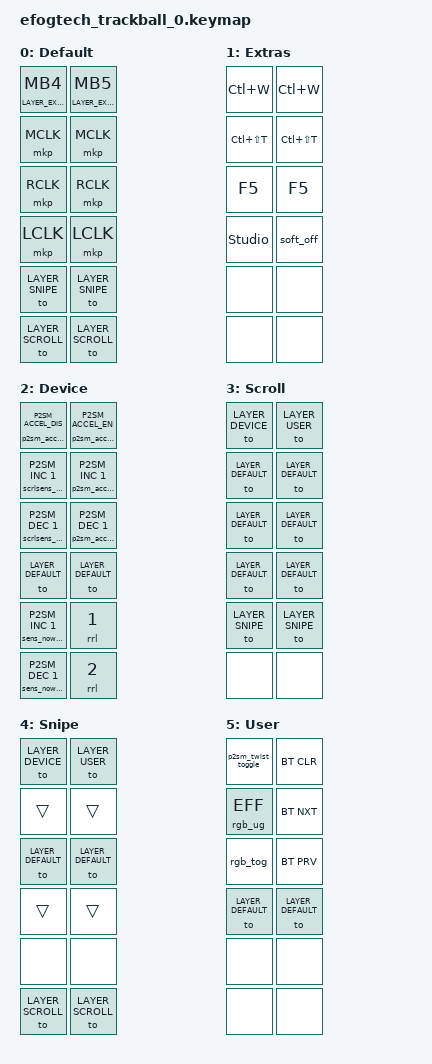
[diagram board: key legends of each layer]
#include <behaviors.dtsi>
#include <dt-bindings/zmk/bt.h>
#include <dt-bindings/zmk/keys.h>
#include <dt-bindings/zmk/pointing.h>
#include <dt-bindings/zmk/outputs.h>
#include <dt-bindings/zmk/p2sm.h>
#include <dt-bindings/zmk/rgb.h>
#include <dt-bindings/zmk/ext_power.h>

#define LAYER_DEFAULT      0
#define LAYER_EXTRAS       1
#define LAYER_DEVICE       2
#define LAYER_SCROLL       3
#define LAYER_SNIPE        4
#define LAYER_USER         5

#define TWIST_MULTIPLIER   1
#define TWIST_DIVISOR      1

#define SCROLL_MULTIPLIER  1
#define SCROLL_DIVISOR     3

#define SNIPE_MULTIPLIER   1
#define SNIPE_DIVISOR      3

/ {
	keymap {
		compatible = "zmk,keymap";

		default_layer {
			display-name = "Default";
			DECLARE_ENCODERS;
			bindings = <
				// buttons
				&ltm LAYER_EXTRAS MB4     &ltm LAYER_EXTRAS MB5
				&mkp MCLK                 &mkp MCLK
				&mkp RCLK                 &mkp RCLK
				&mkp LCLK                 &mkp LCLK

				// rotary encoders
				&to LAYER_SNIPE          &to LAYER_SNIPE
				&to LAYER_SCROLL         &to LAYER_SCROLL
			>;
		};

		layer2 {
			display-name = "Extras";
			DECLARE_ENCODERS;
			bindings = <
				&kp LC(W)            &kp LC(W)
				&kp LC(LS(T))        &kp LC(LS(T))
				&kp F5               &kp F5
				&studio_unlock       &soft_off

				&none                &none
				&none                &none
			>;
		};

		layer3 {
			display-name = "Device";
			DECLARE_ENCODERS;
			bindings = <	
				&p2sm_accel_toggle P2SM_ACCEL_DIS           &p2sm_accel_toggle P2SM_ACCEL_EN
				&scrlsens_nowrap P2SM_INC 1  &p2sm_accel_adj P2SM_INC 1
				&scrlsens_nowrap P2SM_DEC 1  &p2sm_accel_adj P2SM_DEC 1
				&to LAYER_DEFAULT            &to LAYER_DEFAULT

				&sens_nowrap P2SM_INC 1      &rrl 1
				&sens_nowrap P2SM_DEC 1      &rrl 2
			>;
		};

		layer4 {
			display-name = "Scroll";
			DECLARE_ENCODERS;
			bindings = <
				&to LAYER_DEVICE     &to LAYER_USER
				&to LAYER_DEFAULT    &to LAYER_DEFAULT
				&to LAYER_DEFAULT    &to LAYER_DEFAULT
				&to LAYER_DEFAULT    &to LAYER_DEFAULT

				&to LAYER_SNIPE      &to LAYER_SNIPE
				&none                &none
			>;
		};

		layer5 {
			display-name = "Snipe";
			DECLARE_ENCODERS;
			bindings = <
				&to LAYER_DEVICE     &to LAYER_USER
				&trans               &trans
				&to LAYER_DEFAULT    &to LAYER_DEFAULT
				&trans               &trans

				&none                &none
				&to LAYER_SCROLL     &to LAYER_SCROLL
			>;
		};

		layer6 {
			display-name = "User";
			DECLARE_ENCODERS;
			bindings = <
				&p2sm_twist_toggle   &bt BT_CLR
				&rgb_ug RGB_EFF      &bt BT_NXT
				&rgb_tog             &bt BT_PRV
				&to LAYER_DEFAULT    &to LAYER_DEFAULT

				&none                &none
				&none                &none
		    >;
		};
	};

	trackball {
		input-processors = <&zip_scroll_scaler TWIST_MULTIPLIER TWIST_DIVISOR>,
						   <&zip_ble_report_rate_limit>, <&zip_pointer_accel>, <&zip_scroll_accel>;

		scroll {
			layers = <LAYER_SCROLL>;
			input-processors = <&zip_xy_scaler SCROLL_MULTIPLIER SCROLL_DIVISOR>, <&zip_axis_clamper>,
							   <&zip_xy_to_scroll_mapper>, <&zip_scroll_transform INPUT_TRANSFORM_Y_INVERT>,
							   <&zip_ble_report_rate_limit>, <&zip_scroll_accel>;
		};

		snipe {
			layers = <LAYER_SNIPE>;
			input-processors = <&zip_xy_scaler SNIPE_MULTIPLIER SNIPE_DIVISOR>, <&zip_ble_report_rate_limit>;
		};
	};

	macros {
		rgb_tog: rgb_tog {
			compatible = "zmk,behavior-macro";
			display-name = "Toggle RGB";
			#binding-cells = <0>;
			wait-ms = <20>;
			bindings
			= <&rgb_ug RGB_TOG>
			, <&ext_power EP_TOG>
			;
		};

		rgb_off: rgb_off {
			compatible = "zmk,behavior-macro";
			display-name = "RGB off";
			#binding-cells = <0>;
			wait-ms = <20>;
			bindings
			= <&ext_power EP_OFF>
			, <&rgb_ug RGB_OFF>
			;
		};
	};
};
